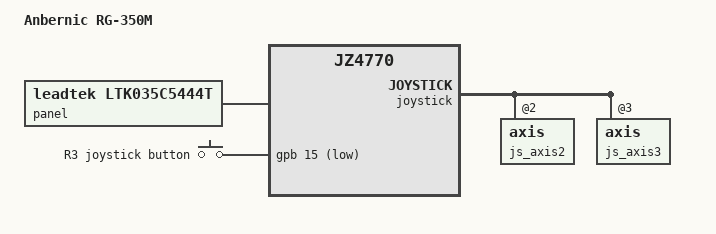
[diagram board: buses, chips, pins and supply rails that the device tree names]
// SPDX-License-Identifier: GPL-2.0
/dts-v1/;

#include "rg280m-v1.0.dts"

/ {
	compatible = "ylm,rg350m", "ingenic,jz4770";
	model = "Anbernic RG-350M";
};

&panel {
	compatible = "leadtek,ltk035c5444t";
};

&gpio_keys {
	btn18: button-18 {
		label = "R3 joystick button";
		linux,code = <KEY_KPDOT>;
		linux,can-disable;
		gpios = <&gpb 15 GPIO_ACTIVE_LOW>;
	};
};

&joystick {
	io-channels = <&adc INGENIC_ADC_TOUCH_YP>,
		      <&adc INGENIC_ADC_TOUCH_XP>,
		      <&adc INGENIC_ADC_TOUCH_YN>,
		      <&adc INGENIC_ADC_TOUCH_XN>;

	js_axis2: axis@2 {
		reg = <2>;
		linux,code = <ABS_RX>;
		abs-range = <200 3000>;
		abs-fuzz = <4>;
		abs-flat = <200>;
	};

	js_axis3: axis@3 {
		reg = <3>;
		linux,code = <ABS_RY>;
		abs-range = <200 3000>;
		abs-fuzz = <4>;
		abs-flat = <200>;
	};
};
